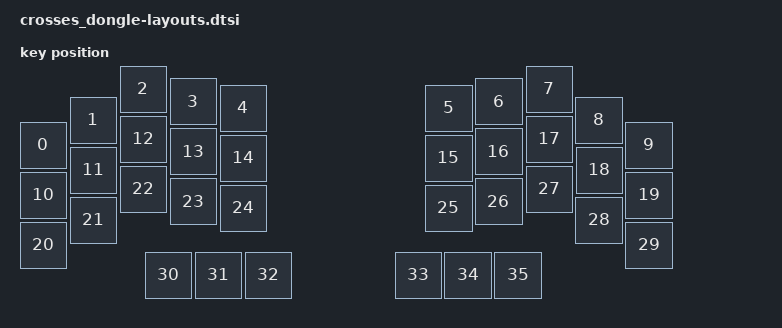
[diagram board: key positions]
#include <physical_layouts.dtsi>

/ {
    physical_layout0: physical_layout_0 {
        compatible = "zmk,physical-layout";
        display-name = "LAYOUT_default";

        /* For dongle use a mock kscan */
        kscan = <&mock_kscan>;
        /* Ensure we reference the dongle's default transform label */
        transform = <&default_transform>;

        keys  //                     w   h    x    y     rot    rx    ry
            = <&key_physical_attrs 100 100    0  112       0     0     0>
            , <&key_physical_attrs 100 100  100   62       0     0     0>
            , <&key_physical_attrs 100 100  200    0       0     0     0>
            , <&key_physical_attrs 100 100  300   25       0     0     0>
            , <&key_physical_attrs 100 100  400   38       0     0     0>
            , <&key_physical_attrs 100 100  812   38       0     0     0>
            , <&key_physical_attrs 100 100  912   25       0     0     0>
            , <&key_physical_attrs 100 100 1012    0       0     0     0>
            , <&key_physical_attrs 100 100 1112   62       0     0     0>
            , <&key_physical_attrs 100 100 1212  112       0     0     0>
            , <&key_physical_attrs 100 100    0  212       0     0     0>
            , <&key_physical_attrs 100 100  100  162       0     0     0>
            , <&key_physical_attrs 100 100  200  100       0     0     0>
            , <&key_physical_attrs 100 100  300  125       0     0     0>
            , <&key_physical_attrs 100 100  400  138       0     0     0>
            , <&key_physical_attrs 100 100  812  138       0     0     0>
            , <&key_physical_attrs 100 100  912  125       0     0     0>
            , <&key_physical_attrs 100 100 1012  100       0     0     0>
            , <&key_physical_attrs 100 100 1113  162       0     0     0>
            , <&key_physical_attrs 100 100 1212  212       0     0     0>
            , <&key_physical_attrs 100 100    0  312       0     0     0>
            , <&key_physical_attrs 100 100  100  262       0     0     0>
            , <&key_physical_attrs 100 100  200  200       0     0     0>
            , <&key_physical_attrs 100 100  300  225       0     0     0>
            , <&key_physical_attrs 100 100  400  238       0     0     0>
            , <&key_physical_attrs 100 100  812  238       0     0     0>
            , <&key_physical_attrs 100 100  912  225       0     0     0>
            , <&key_physical_attrs 100 100 1012  200       0     0     0>
            , <&key_physical_attrs 100 100 1112  262       0     0     0>
            , <&key_physical_attrs 100 100 1212  312       0     0     0>
            , <&key_physical_attrs 100 100  250  372       0     0     0>
            , <&key_physical_attrs 100 100  350  372       0     0     0>
            , <&key_physical_attrs 100 100  450  372       0     0     0>
            , <&key_physical_attrs 100 100  750  372       0     0     0>
            , <&key_physical_attrs 100 100  850  372       0     0     0>
            , <&key_physical_attrs 100 100  950  372       0     0     0>
            ;
    };
};
